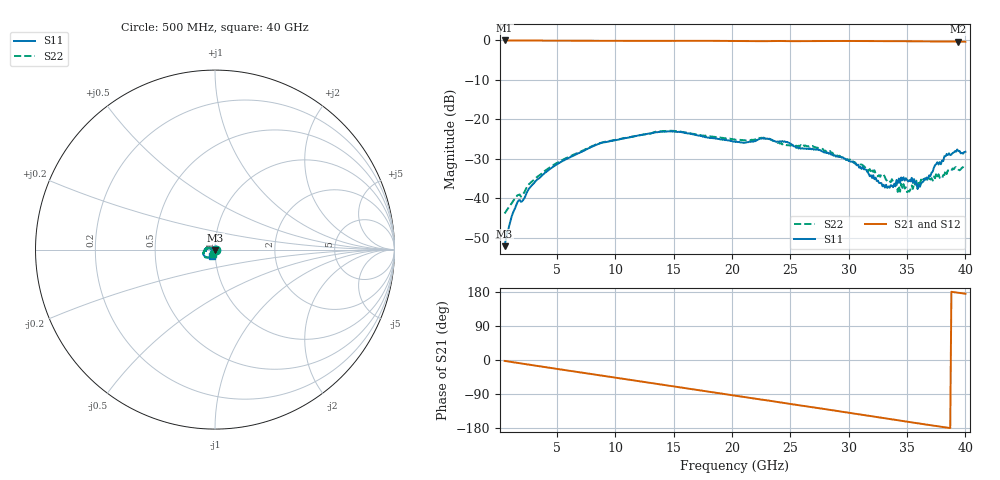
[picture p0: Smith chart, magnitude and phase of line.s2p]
!Keysight Technologies,N5247B,MY61255062,A.15.50.07
!Date: Thursday, February 13, 2025 10:49:04
!Correction: S11(C  2-Port  )
!S21(C  2-Port  )
!S12(C  2-Port  )
!S22(C  2-Port  )
!S2P File: Measurements: S11, S21, S12, S22:
# Hz S  MA  R 50
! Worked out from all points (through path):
!   396 points, 500 MHz to 40 GHz, reference 50 ohm
!   highest |S21| = -0.03 dB at 500 MHz (marker M1); lowest = -0.4 dB at 39.4 GHz (marker M2)
!   group delay of S21, straight-line fit = 12.9 ps
!   lowest |S11| = -52.1 dB at 500 MHz (marker M3), VSWR 1.00, Z = 50.2 - j0.184 ohm
!   |S11| at or under -10 dB: start of sweep to end of sweep
!   |S22| runs from -43.8 to -22.9 dB; largest |S21 - S12| = 0.00057
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5e8  0.002475 -47.7  0.9961 -2.4  0.9961 -2.4  0.006424 -17.3
1.1e9  0.00585 -70.1  0.9951 -5.3  0.9952 -5.3  0.008607 -41.5
1.7e9  0.009388 -85.9  0.9935 -8.1  0.9935 -8.1  0.01106 -62.1
4.2e9  0.02238 -95.8  0.9918 -19.8  0.9917 -19.8  0.02362 -85.1
7.1e9  0.03868 -109.5  0.9867 -33.3  0.9866 -33.3  0.03946 -103.5
1.37e10  0.06926 -148.5  0.9843 -63.6  0.9843 -63.6  0.0704 -144.6
2.03e10  0.05157 -175.8  0.9811 -94.6  0.981 -94.6  0.05488 -173.8
2.3e10  0.05715 -179.9  0.9776 -106.5  0.9776 -106.5  0.05731 177.6
2.69e10  0.04255 171.0  0.9778 -124.6  0.9776 -124.6  0.04601 168.6
3.06e10  0.02787 165.0  0.9808 -142.0  0.9808 -142.0  0.02686 164.1
3.35e10  0.01357 -157.6  0.977 -155.7  0.9772 -155.7  0.01625 172.8
3.41e10  0.01704 -148.0  0.9758 -158.5  0.9758 -158.5  0.01529 -173.0
3.42e10  0.01557 -150.3  0.976 -159.0  0.976 -159.0  0.01205 -174.0
3.47e10  0.01843 -147.0  0.9745 -161.3  0.9745 -161.3  0.01509 -172.4
3.5e10  0.01696 -140.3  0.9733 -162.7  0.9732 -162.7  0.01198 -151.1
3.56e10  0.01753 -134.3  0.9715 -165.5  0.9714 -165.5  0.01582 -135.9
3.59e10  0.01308 -125.5  0.9709 -166.9  0.9709 -166.9  0.01405 -136.0
3.6e10  0.01496 -127.6  0.9709 -167.4  0.9708 -167.4  0.01678 -136.4
3.7e10  0.01911 -103.3  0.9664 -172.0  0.9668 -172.0  0.01731 -132.1
3.76e10  0.0286 -97.2  0.9641 -174.7  0.9643 -174.7  0.019 -125.2
3.94e10  0.03952 -113.5  0.9591 177.4  0.9591 177.4  0.02302 -115.7
4e10  0.0388 -111.5  0.9622 174.8  0.9622 174.8  0.02712 -108.7
